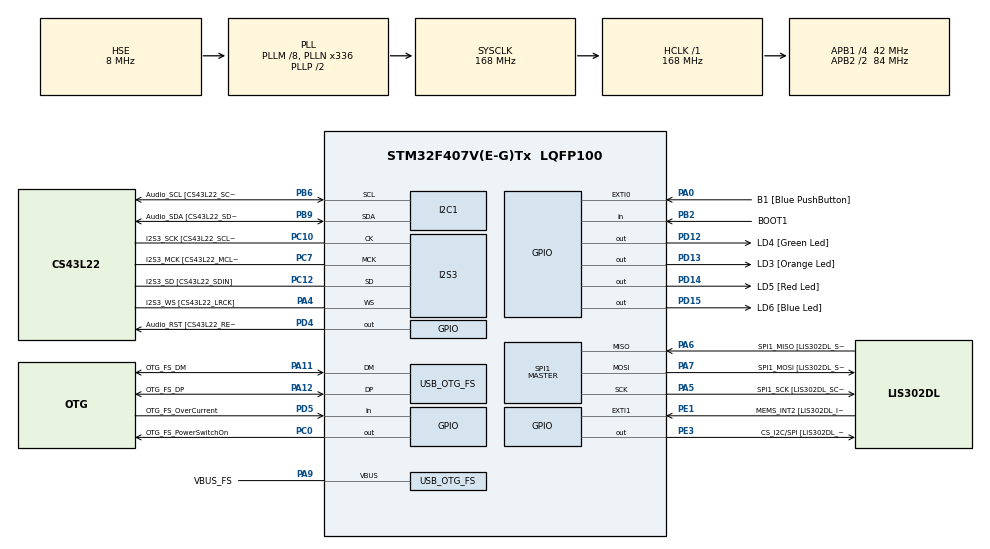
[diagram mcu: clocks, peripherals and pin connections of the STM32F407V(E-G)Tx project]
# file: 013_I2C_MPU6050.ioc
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I2S3.AudioFreq-Half_Duplex_Master=I2S_AUDIOFREQ_96K
I2S3.ErrorAudioFreq=-2.34 %
I2S3.ErrorAudioFreq-Half_Duplex_Master=0.8 %
I2S3.FullDuplexMode=I2S_FULLDUPLEXMODE_DISABLE
I2S3.Instance=SPI$Index
I2S3.RealAudioFreq=93.75 KHz
I2S3.RealAudioFreq-Half_Duplex_Master=96.774 KHz
I2S3.VirtualMode=I2S_MODE_MASTER
Mcu.Family=STM32F4
Mcu.Name=STM32F407V(E-G)Tx
Mcu.Package=LQFP100
NVIC.OTG_FS_IRQn=true\:0\:0\:false\:false\:true\:true\:true\:true
NVIC.PriorityGroup=NVIC_PRIORITYGROUP_0
PA0-WKUP.GPIO_Label=B1 [Blue PushButton]
PA0-WKUP.GPIO_ModeDefaultEXTI=GPIO_MODE_EVT_RISING
PA0-WKUP.GPIO_PuPd=GPIO_NOPULL
PA0-WKUP.Signal=GPXTI0
PA10.GPIO_Label=OTG_FS_ID
PA10.GPIO_Mode=GPIO_MODE_AF_PP
PA10.GPIO_PuPd=GPIO_NOPULL
PA10.GPIO_Speed=GPIO_SPEED_FREQ_LOW
PA10.Signal=USB_OTG_FS_ID
PA11.GPIO_Label=OTG_FS_DM
PA11.GPIO_Mode=GPIO_MODE_AF_PP
PA11.GPIO_PuPd=GPIO_NOPULL
PA11.GPIO_Speed=GPIO_SPEED_FREQ_LOW
PA11.Mode=Host_Only
PA11.Signal=USB_OTG_FS_DM
PA12.GPIO_Label=OTG_FS_DP
PA12.GPIO_Mode=GPIO_MODE_AF_PP
PA12.GPIO_PuPd=GPIO_NOPULL
PA12.GPIO_Speed=GPIO_SPEED_FREQ_LOW
PA12.Mode=Host_Only
PA12.Signal=USB_OTG_FS_DP
PA13.GPIO_Label=SWDIO
PA13.Mode=Serial_Wire
PA13.Signal=SYS_JTMS-SWDIO
PA14.GPIO_Label=SWCLK
PA14.Mode=Serial_Wire
PA14.Signal=SYS_JTCK-SWCLK
PA4.GPIO_Label=I2S3_WS [CS43L22_LRCK]
PA4.GPIO_Mode=GPIO_MODE_AF_PP
PA4.GPIO_PuPd=GPIO_NOPULL
PA4.GPIO_Speed=GPIO_SPEED_FREQ_LOW
PA4.Mode=Half_Duplex_Master
PA4.Signal=I2S3_WS
PA5.GPIO_Label=SPI1_SCK [LIS302DL_SCL/SPC]
PA5.GPIO_Mode=GPIO_MODE_AF_PP
PA5.GPIO_PuPd=GPIO_NOPULL
PA5.GPIO_Speed=GPIO_SPEED_FREQ_LOW
PA5.Mode=Full_Duplex_Master
PA5.Signal=SPI1_SCK
PA6.GPIO_Label=SPI1_MISO [LIS302DL_SDO]
PA6.GPIO_Mode=GPIO_MODE_AF_PP
PA6.GPIO_PuPd=GPIO_NOPULL
PA6.GPIO_Speed=GPIO_SPEED_FREQ_LOW
PA6.Mode=Full_Duplex_Master
PA6.Signal=SPI1_MISO
PA7.GPIO_Label=SPI1_MOSI [LIS302DL_SDA/SDI/SDO]
PA7.GPIO_Mode=GPIO_MODE_AF_PP
PA7.GPIO_PuPd=GPIO_NOPULL
PA7.GPIO_Speed=GPIO_SPEED_FREQ_LOW
PA7.Mode=Full_Duplex_Master
PA7.Signal=SPI1_MOSI
PA9.GPIO_Label=VBUS_FS
PA9.GPIO_Mode=GPIO_MODE_INPUT
PA9.GPIO_PuPd=GPIO_NOPULL
PA9.Mode=Activate_VBUS
PA9.Signal=USB_OTG_FS_VBUS
PB10.GPIO_Label=CLK_IN [MP45DT02_CLK]
PB10.GPIO_Mode=GPIO_MODE_AF_PP
PB10.GPIO_PuPd=GPIO_NOPULL
PB10.GPIO_Speed=GPIO_SPEED_FREQ_LOW
PB10.Signal=I2S2_CK
PB2.GPIO_Label=BOOT1
PB2.GPIO_Mode=GPIO_MODE_INPUT
PB2.GPIO_PuPd=GPIO_NOPULL
PB2.Signal=GPIO_Input
PB3.GPIO_Label=SWO
PB3.Signal=SYS_JTDO-SWO
PB6.GPIO_Label=Audio_SCL [CS43L22_SCL]
PB6.GPIO_Mode=GPIO_MODE_AF_OD
PB6.GPIO_Pu=GPIO_PULLUP
PB6.GPIO_PuPd=GPIO_NOPULL
PB6.GPIO_Speed=GPIO_SPEED_FREQ_LOW
PB6.Mode=I2C
PB6.Signal=I2C1_SCL
PB9.GPIO_Label=Audio_SDA [CS43L22_SDA]
PB9.GPIO_Mode=GPIO_MODE_AF_OD
PB9.GPIO_Pu=GPIO_PULLUP
PB9.GPIO_PuPd=GPIO_NOPULL
PB9.GPIO_Speed=GPIO_SPEED_FREQ_LOW
PB9.Mode=I2C
PB9.Signal=I2C1_SDA
PC0.GPIO_Label=OTG_FS_PowerSwitchOn
PC0.GPIO_PuPd=GPIO_NOPULL
PC0.GPIO_Speed=GPIO_SPEED_FREQ_LOW
PC0.PinState=GPIO_PIN_SET
PC0.Signal=GPIO_Output
PC10.GPIO_Label=I2S3_SCK [CS43L22_SCLK]
PC10.GPIO_Mode=GPIO_MODE_AF_PP
PC10.GPIO_PuPd=GPIO_NOPULL
PC10.GPIO_Speed=GPIO_SPEED_FREQ_LOW
PC10.Mode=Half_Duplex_Master
PC10.Signal=I2S3_CK
PC12.GPIO_Label=I2S3_SD [CS43L22_SDIN]
PC12.GPIO_Mode=GPIO_MODE_AF_PP
PC12.GPIO_PuPd=GPIO_NOPULL
PC12.GPIO_Speed=GPIO_SPEED_FREQ_LOW
PC12.Mode=Half_Duplex_Master
PC12.Signal=I2S3_SD
PC14-OSC32_IN.GPIO_Label=PC14-OSC32_IN
PC14-OSC32_IN.Mode=LSE-External-Oscillator
PC14-OSC32_IN.Signal=RCC_OSC32_IN
PC15-OSC32_OUT.GPIO_Label=PC15-OSC32_OUT
PC15-OSC32_OUT.Mode=LSE-External-Oscillator
PC15-OSC32_OUT.Signal=RCC_OSC32_OUT
PC3.GPIO_Label=PDM_OUT [MP45DT02_DOUT]
PC3.GPIO_Mode=GPIO_MODE_AF_PP
PC3.GPIO_PuPd=GPIO_NOPULL
PC3.GPIO_Speed=GPIO_SPEED_FREQ_LOW
PC3.Signal=I2S2_SD
PC7.GPIO_Label=I2S3_MCK [CS43L22_MCLK]
PC7.GPIO_Mode=GPIO_MODE_AF_PP
PC7.GPIO_PuPd=GPIO_NOPULL
PC7.GPIO_Speed=GPIO_SPEED_FREQ_LOW
PC7.Mode=Master_Clock_Activated
PC7.Signal=I2S3_MCK
PD12.GPIO_Label=LD4 [Green Led]
PD12.GPIO_PuPd=GPIO_NOPULL
PD12.GPIO_Speed=GPIO_SPEED_FREQ_LOW
PD12.Signal=GPIO_Output
PD13.GPIO_Label=LD3 [Orange Led]
PD13.GPIO_PuPd=GPIO_NOPULL
PD13.GPIO_Speed=GPIO_SPEED_FREQ_LOW
PD13.Signal=GPIO_Output
PD14.GPIO_Label=LD5 [Red Led]
PD14.GPIO_PuPd=GPIO_NOPULL
PD14.GPIO_Speed=GPIO_SPEED_FREQ_LOW
PD14.Signal=GPIO_Output
PD15.GPIO_Label=LD6 [Blue Led]
PD15.GPIO_PuPd=GPIO_NOPULL
PD15.GPIO_Speed=GPIO_SPEED_FREQ_LOW
PD15.Signal=GPIO_Output
PD4.GPIO_Label=Audio_RST [CS43L22_RESET]
PD4.GPIO_PuPd=GPIO_NOPULL
PD4.GPIO_Speed=GPIO_SPEED_FREQ_LOW
PD4.Signal=GPIO_Output
PD5.GPIO_Label=OTG_FS_OverCurrent
PD5.GPIO_Mode=GPIO_MODE_INPUT
PD5.GPIO_PuPd=GPIO_NOPULL
PD5.Signal=GPIO_Input
PE1.GPIO_Label=MEMS_INT2 [LIS302DL_INT2]
PE1.GPIO_ModeDefaultEXTI=GPIO_MODE_EVT_RISING
PE1.GPIO_PuPd=GPIO_NOPULL
PE1.Signal=GPXTI1
PE3.GPIO_Label=CS_I2C/SPI [LIS302DL_CS_I2C/SPI]
PE3.GPIO_PuPd=GPIO_NOPULL
PE3.GPIO_Speed=GPIO_SPEED_FREQ_LOW
PE3.Signal=GPIO_Output
PH0-OSC_IN.GPIO_Label=PH0-OSC_IN
PH0-OSC_IN.Mode=HSE-External-Oscillator
PH0-OSC_IN.Signal=RCC_OSC_IN
PH1-OSC_OUT.GPIO_Label=PH1-OSC_OUT
PH1-OSC_OUT.Mode=HSE-External-Oscillator
PH1-OSC_OUT.Signal=RCC_OSC_OUT
ProjectManager.HeapSize=0x200
ProjectManager.StackSize=0x400
ProjectManager.TargetToolchain=STM32CubeIDE
RCC.48MHZClocksFreq_Value=48000000
RCC.AHBFreq_Value=168000000
RCC.APB1CLKDivider=RCC_HCLK_DIV4
RCC.APB1Freq_Value=42000000
RCC.APB1TimFreq_Value=84000000
RCC.APB2CLKDivider=RCC_HCLK_DIV2
RCC.APB2Freq_Value=84000000
RCC.APB2TimFreq_Value=168000000
RCC.CortexFreq_Value=168000000
RCC.HCLKFreq_Value=168000000
RCC.HSE_VALUE=8000000
RCC.HSI_VALUE=16000000
RCC.PLLM=8
RCC.PLLN=336
RCC.PLLQ=7
RCC.SYSCLKFreq_VALUE=168000000
RCC.SYSCLKSource=RCC_SYSCLKSOURCE_PLLCLK
RCC.VCOOutputFreq_Value=336000000
SPI1.BaudRatePrescaler-Full_Duplex_Master=SPI_BAUDRATEPRESCALER_2
SPI1.CalculateBaudRate-Full_Duplex_Master=42.0 MBits/s
SPI1.Direction=SPI_DIRECTION_2LINES
SPI1.Mode=SPI_MODE_MASTER
SPI1.Mode-Full_Duplex_Master=SPI_MODE_MASTER
SPI1.VirtualType=VM_MASTER
USB_HOST.BSP.number=1
USB_HOST.USBH_HandleTypeDef-CDC_FS=hUsbHostFS
USB_HOST.VirtualModeFS=Cdc
USB_HOST0.BSP.STBoard=false
USB_HOST0.BSP.api=Unknown
USB_HOST0.BSP.instance=PC0
USB_HOST0.BSP.ip=GPIO
USB_HOST0.BSP.mode=Output
USB_HOST0.BSP.name=Drive_VBUS_FS
USB_HOST0.BSP.solution=PC0
USB_OTG_FS.VirtualMode=Host_Only
USB_OTG_FS.phy_itface=HCD_PHY_EMBEDDED
VP_USB_HOST_VS_USB_HOST_CDC_FS.Mode=CDC_FS
board=STM32F407G-DISC1

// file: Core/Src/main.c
/* USER CODE BEGIN Header */
/**
  ******************************************************************************
  * @file           : main.c
  * @brief          : Main program body
  ******************************************************************************
  * @attention
  *
  * Copyright (c) 2023 STMicroelectronics.
  * All rights reserved.
  *
  * This software is licensed under terms that can be found in the LICENSE file
  * in the root directory of this software component.
  * If no LICENSE file comes with this software, it is provided AS-IS.
  *
  ******************************************************************************
  */
/* USER CODE END Header */
#include "main.h"
#include "usb_host.h"

/* USER CODE BEGIN Includes */

#include "MPU6050.h"

/* USER CODE END Includes */

I2C_HandleTypeDef hi2c1;

I2S_HandleTypeDef hi2s3;

SPI_HandleTypeDef hspi1;

void SystemClock_Config(void);
static void MX_GPIO_Init(void);
static void MX_I2C1_Init(void);
static void MX_I2S3_Init(void);
static void MX_SPI1_Init(void);
void MX_USB_HOST_Process(void);

int main(void)
{

  /* MCU Configuration--------------------------------------------------------*/

  /* Reset of all peripherals, Initializes the Flash interface and the Systick. */
  HAL_Init();

  /* Configure the system clock */
  SystemClock_Config();

  /* Initialize all configured peripherals */
  MX_GPIO_Init();
  MX_I2C1_Init();
  MX_I2S3_Init();
  MX_SPI1_Init();
  MX_USB_HOST_Init();
  /* USER CODE BEGIN 2 */

  if(HAL_I2C_IsDeviceReady(&hi2c1, MPU6050_ADDRESS_AD0_HIGH, 5, 100) == HAL_OK)
  {
	  HAL_GPIO_WritePin(LD3_GPIO_Port, LD3_Pin | LD4_Pin | LD5_Pin, GPIO_PIN_SET);

	  mpu6050_init();
  }

  /* USER CODE END 2 */

  /* Infinite loop */
  /* USER CODE BEGIN WHILE */
  while (1)
  {
	  mpu6050_get_accel();
    /* USER CODE END WHILE */
    MX_USB_HOST_Process();

  }
}

void SystemClock_Config(void)
{
  RCC_OscInitTypeDef RCC_OscInitStruct = {0};
  RCC_ClkInitTypeDef RCC_ClkInitStruct = {0};

  /** Configure the main internal regulator output voltage
  */
  __HAL_RCC_PWR_CLK_ENABLE();
  __HAL_PWR_VOLTAGESCALING_CONFIG(PWR_REGULATOR_VOLTAGE_SCALE1);

  /** Initializes the RCC Oscillators according to the specified parameters
  * in the RCC_OscInitTypeDef structure.
  */
  RCC_OscInitStruct.OscillatorType = RCC_OSCILLATORTYPE_HSE;
  RCC_OscInitStruct.HSEState = RCC_HSE_ON;
  RCC_OscInitStruct.PLL.PLLState = RCC_PLL_ON;
  RCC_OscInitStruct.PLL.PLLSource = RCC_PLLSOURCE_HSE;
  RCC_OscInitStruct.PLL.PLLM = 8;
  RCC_OscInitStruct.PLL.PLLN = 336;
  RCC_OscInitStruct.PLL.PLLP = RCC_PLLP_DIV2;
  RCC_OscInitStruct.PLL.PLLQ = 7;
  if (HAL_RCC_OscConfig(&RCC_OscInitStruct) != HAL_OK)
  {
    Error_Handler();
  }

  /** Initializes the CPU, AHB and APB buses clocks
  */
  RCC_ClkInitStruct.ClockType = RCC_CLOCKTYPE_HCLK|RCC_CLOCKTYPE_SYSCLK
                              |RCC_CLOCKTYPE_PCLK1|RCC_CLOCKTYPE_PCLK2;
  RCC_ClkInitStruct.SYSCLKSource = RCC_SYSCLKSOURCE_PLLCLK;
  RCC_ClkInitStruct.AHBCLKDivider = RCC_SYSCLK_DIV1;
  RCC_ClkInitStruct.APB1CLKDivider = RCC_HCLK_DIV4;
  RCC_ClkInitStruct.APB2CLKDivider = RCC_HCLK_DIV2;

  if (HAL_RCC_ClockConfig(&RCC_ClkInitStruct, FLASH_LATENCY_5) != HAL_OK)
  {
    Error_Handler();
  }
}

static void MX_I2C1_Init(void)
{

  hi2c1.Instance = I2C1;
  hi2c1.Init.ClockSpeed = 100000;
  hi2c1.Init.DutyCycle = I2C_DUTYCYCLE_2;
  hi2c1.Init.OwnAddress1 = 0;
  hi2c1.Init.AddressingMode = I2C_ADDRESSINGMODE_7BIT;
  hi2c1.Init.DualAddressMode = I2C_DUALADDRESS_DISABLE;
  hi2c1.Init.OwnAddress2 = 0;
  hi2c1.Init.GeneralCallMode = I2C_GENERALCALL_DISABLE;
  hi2c1.Init.NoStretchMode = I2C_NOSTRETCH_DISABLE;
  if (HAL_I2C_Init(&hi2c1) != HAL_OK)
  {
    Error_Handler();
  }

}

static void MX_I2S3_Init(void)
{

  hi2s3.Instance = SPI3;
  hi2s3.Init.Mode = I2S_MODE_MASTER_TX;
  hi2s3.Init.Standard = I2S_STANDARD_PHILIPS;
  hi2s3.Init.DataFormat = I2S_DATAFORMAT_16B;
  hi2s3.Init.MCLKOutput = I2S_MCLKOUTPUT_ENABLE;
  hi2s3.Init.AudioFreq = I2S_AUDIOFREQ_96K;
  hi2s3.Init.CPOL = I2S_CPOL_LOW;
  hi2s3.Init.ClockSource = I2S_CLOCK_PLL;
  hi2s3.Init.FullDuplexMode = I2S_FULLDUPLEXMODE_DISABLE;
  if (HAL_I2S_Init(&hi2s3) != HAL_OK)
  {
    Error_Handler();
  }

}

static void MX_SPI1_Init(void)
{

  /* SPI1 parameter configuration*/
  hspi1.Instance = SPI1;
  hspi1.Init.Mode = SPI_MODE_MASTER;
  hspi1.Init.Direction = SPI_DIRECTION_2LINES;
  hspi1.Init.DataSize = SPI_DATASIZE_8BIT;
  hspi1.Init.CLKPolarity = SPI_POLARITY_LOW;
  hspi1.Init.CLKPhase = SPI_PHASE_1EDGE;
  hspi1.Init.NSS = SPI_NSS_SOFT;
  hspi1.Init.BaudRatePrescaler = SPI_BAUDRATEPRESCALER_2;
  hspi1.Init.FirstBit = SPI_FIRSTBIT_MSB;
  hspi1.Init.TIMode = SPI_TIMODE_DISABLE;
  hspi1.Init.CRCCalculation = SPI_CRCCALCULATION_DISABLE;
  hspi1.Init.CRCPolynomial = 10;
  if (HAL_SPI_Init(&hspi1) != HAL_OK)
  {
    Error_Handler();
  }

}

static void MX_GPIO_Init(void)
{
  GPIO_InitTypeDef GPIO_InitStruct = {0};

  /* GPIO Ports Clock Enable */
  __HAL_RCC_GPIOE_CLK_ENABLE();
  __HAL_RCC_GPIOC_CLK_ENABLE();
  __HAL_RCC_GPIOH_CLK_ENABLE();
  __HAL_RCC_GPIOA_CLK_ENABLE();
  __HAL_RCC_GPIOB_CLK_ENABLE();
  __HAL_RCC_GPIOD_CLK_ENABLE();

  /*Configure GPIO pin Output Level */
  HAL_GPIO_WritePin(CS_I2C_SPI_GPIO_Port, CS_I2C_SPI_Pin, GPIO_PIN_RESET);

  /*Configure GPIO pin Output Level */
  HAL_GPIO_WritePin(OTG_FS_PowerSwitchOn_GPIO_Port, OTG_FS_PowerSwitchOn_Pin, GPIO_PIN_SET);

  /*Configure GPIO pin Output Level */
  HAL_GPIO_WritePin(GPIOD, LD4_Pin|LD3_Pin|LD5_Pin|LD6_Pin
                          |Audio_RST_Pin, GPIO_PIN_RESET);

  /*Configure GPIO pin : CS_I2C_SPI_Pin */
  GPIO_InitStruct.Pin = CS_I2C_SPI_Pin;
  GPIO_InitStruct.Mode = GPIO_MODE_OUTPUT_PP;
  GPIO_InitStruct.Pull = GPIO_NOPULL;
  GPIO_InitStruct.Speed = GPIO_SPEED_FREQ_LOW;
  HAL_GPIO_Init(CS_I2C_SPI_GPIO_Port, &GPIO_InitStruct);

  /*Configure GPIO pin : OTG_FS_PowerSwitchOn_Pin */
  GPIO_InitStruct.Pin = OTG_FS_PowerSwitchOn_Pin;
  GPIO_InitStruct.Mode = GPIO_MODE_OUTPUT_PP;
  GPIO_InitStruct.Pull = GPIO_NOPULL;
  GPIO_InitStruct.Speed = GPIO_SPEED_FREQ_LOW;
  HAL_GPIO_Init(OTG_FS_PowerSwitchOn_GPIO_Port, &GPIO_InitStruct);

  /*Configure GPIO pin : PDM_OUT_Pin */
  GPIO_InitStruct.Pin = PDM_OUT_Pin;
  GPIO_InitStruct.Mode = GPIO_MODE_AF_PP;
  GPIO_InitStruct.Pull = GPIO_NOPULL;
  GPIO_InitStruct.Speed = GPIO_SPEED_FREQ_LOW;
  GPIO_InitStruct.Alternate = GPIO_AF5_SPI2;
  HAL_GPIO_Init(PDM_OUT_GPIO_Port, &GPIO_InitStruct);

  /*Configure GPIO pin : B1_Pin */
  GPIO_InitStruct.Pin = B1_Pin;
  GPIO_InitStruct.Mode = GPIO_MODE_EVT_RISING;
  GPIO_InitStruct.Pull = GPIO_NOPULL;
  HAL_GPIO_Init(B1_GPIO_Port, &GPIO_InitStruct);

  /*Configure GPIO pin : BOOT1_Pin */
  GPIO_InitStruct.Pin = BOOT1_Pin;
  GPIO_InitStruct.Mode = GPIO_MODE_INPUT;
  GPIO_InitStruct.Pull = GPIO_NOPULL;
  HAL_GPIO_Init(BOOT1_GPIO_Port, &GPIO_InitStruct);

  /*Configure GPIO pin : CLK_IN_Pin */
  GPIO_InitStruct.Pin = CLK_IN_Pin;
  GPIO_InitStruct.Mode = GPIO_MODE_AF_PP;
  GPIO_InitStruct.Pull = GPIO_NOPULL;
  GPIO_InitStruct.Speed = GPIO_SPEED_FREQ_LOW;
  GPIO_InitStruct.Alternate = GPIO_AF5_SPI2;
  HAL_GPIO_Init(CLK_IN_GPIO_Port, &GPIO_InitStruct);

  /*Configure GPIO pins : LD4_Pin LD3_Pin LD5_Pin LD6_Pin
                           Audio_RST_Pin */
  GPIO_InitStruct.Pin = LD4_Pin|LD3_Pin|LD5_Pin|LD6_Pin
                          |Audio_RST_Pin;
  GPIO_InitStruct.Mode = GPIO_MODE_OUTPUT_PP;
  GPIO_InitStruct.Pull = GPIO_NOPULL;
  GPIO_InitStruct.Speed = GPIO_SPEED_FREQ_LOW;
  HAL_GPIO_Init(GPIOD, &GPIO_InitStruct);

  /*Configure GPIO pin : OTG_FS_OverCurrent_Pin */
  GPIO_InitStruct.Pin = OTG_FS_OverCurrent_Pin;
  GPIO_InitStruct.Mode = GPIO_MODE_INPUT;
  GPIO_InitStruct.Pull = GPIO_NOPULL;
  HAL_GPIO_Init(OTG_FS_OverCurrent_GPIO_Port, &GPIO_InitStruct);

  /*Configure GPIO pin : MEMS_INT2_Pin */
  GPIO_InitStruct.Pin = MEMS_INT2_Pin;
  GPIO_InitStruct.Mode = GPIO_MODE_EVT_RISING;
  GPIO_InitStruct.Pull = GPIO_NOPULL;
  HAL_GPIO_Init(MEMS_INT2_GPIO_Port, &GPIO_InitStruct);

}

/* USER CODE BEGIN 4 */

void mpu6050_init()
{

  uint8_t transmit_buf[2];
  transmit_buf[0] = MPU6050_RA_PWR_MGMT_1;	//register address
  transmit_buf[1] = 0b00000001;

  // initialize MPU6050
//  HAL_I2C_Master_Transmit(&hi2c1, MPU6050_ADDRESS_AD0_LOW << 1, transmit_buf, 2, 100);

}

void mpu6050_get_accel()
{
	uint8_t tx_buff[6] = {0};
	uint8_t rx_buff[6] = {0};

	tx_buff[0] = MPU6050_RA_ACCEL_XOUT_H;

	HAL_I2C_Master_Transmit(&hi2c1, MPU6050_ADDRESS_AD0_LOW, tx_buff, 1, 100);
	HAL_I2C_Master_Receive(&hi2c1, MPU6050_ADDRESS_AD0_LOW, tx_buff, 6, 100);

	uint16_t x = (((uint16_t)rx_buff[0]) << 8) | rx_buff[1];
	uint16_t y = (((uint16_t)rx_buff[2]) << 8) | rx_buff[3];
	uint16_t z = (((uint16_t)rx_buff[4]) << 8) | rx_buff[5];

	return;
}

/* USER CODE END 4 */

void Error_Handler(void)
{
  __disable_irq();
  while (1)
  {
  }
}
